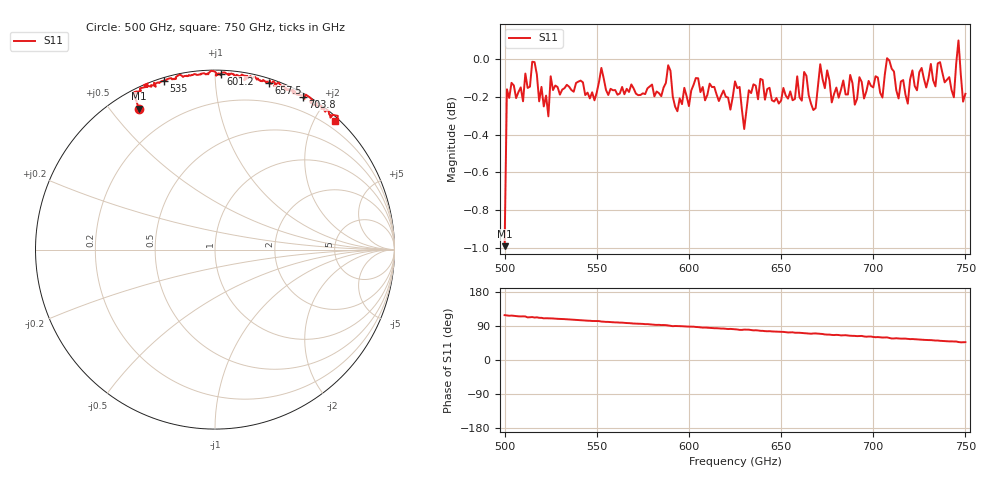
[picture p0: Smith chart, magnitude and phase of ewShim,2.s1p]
!Created with mwavepy.
# GHz S RI R 50.0
!freq	ReS11	ImS11
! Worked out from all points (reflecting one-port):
!   201 points, 500 GHz to 750 GHz, reference 50 ohm
!   lowest |S11| = -1.0 dB at 500 GHz (marker M1), VSWR 17.52, Z = 3.86 + j29.7 ohm
!   phase of S11 starts at 118 deg and turns -71 deg over the sweep
!   S11 on the Smith chart (normalised r, x): 500 GHz: 0.08, +0.59; 535 GHz: 0.01, +0.74; 601.2 GHz: 0.02, +1.03; 657.5 GHz: 0.04, +1.38; 703.8 GHz: 0.04, +1.73; 750 GHz: 0.07, +2.29
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500  -0.4237 0.785
! Port Impedance 50.00000000000000 0.00000000000000
501.25  -0.4534 0.8708
516.25  -0.3743 0.9254
523.75  -0.331 0.9072
531.25  -0.3067 0.9324
535  -0.2849 0.9412
562.5  -0.1478 0.9681
588.75  -0.0217 0.9961
591.25  0.0141 0.9773
593.75  0.0064 0.9687
601.25  0.0328 0.9804
625  0.1492 0.9752
627.5  0.1793 0.9667
630  0.1625 0.9444
632.5  0.1708 0.9662
642.5  0.2399 0.9522
656.25  0.2842 0.9329
657.5  0.3015 0.9283
668.75  0.3297 0.9128
675  0.3872 0.9147
687.5  0.434 0.8903
703.75  0.4894 0.8487
707.5  0.5055 0.8636
710  0.5455 0.8313
718.75  0.5475 0.8046
743.75  0.6431 0.7355
746.25  0.6844 0.7448
750  0.6669 0.7168
